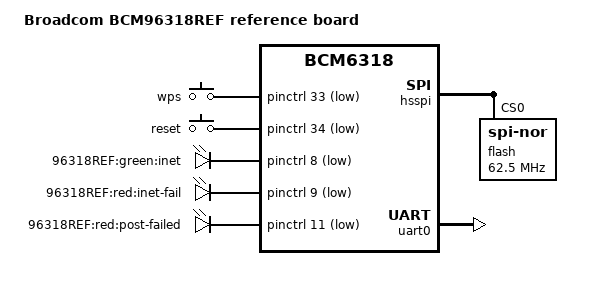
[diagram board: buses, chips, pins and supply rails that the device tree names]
/dts-v1/;

#include "bcm6318.dtsi"

#include <dt-bindings/input/input.h>

/ {
	model = "Broadcom BCM96318REF reference board";
	compatible = "brcm,bcm96318ref", "brcm,bcm6318";

	chosen {
		bootargs = "rootfstype=squashfs,jffs2 noinitrd console=ttyS0,115200";
		stdout-path = "serial0:115200n8";
	};

	gpio-keys-polled {
		compatible = "gpio-keys-polled";
		#address-cells = <1>;
		#size-cells = <0>;
		poll-interval = <20>;
		debounce-interval = <60>;

		wps {
			label = "wps";
			gpios = <&pinctrl 33 1>;
			linux,code = <KEY_WPS_BUTTON>;
		};

		reset {
			label = "reset";
			gpios = <&pinctrl 34 1>;
			linux,code = <KEY_RESTART>;
		};
	};

	gpio-leds {
		compatible = "gpio-leds";

		inet {
			label = "96318REF:green:inet";
			gpios = <&pinctrl 8 1>;
		};

		inet_fail {
			label = "96318REF:red:inet-fail";
			gpios = <&pinctrl 9 1>;
		};

		post_failed {
			label = "96318REF:red:post-failed";
			gpios = <&pinctrl 11 1>;
		};
	};
};

&hsspi {
	status = "ok";

	flash@0 {
		compatible = "jedec,spi-nor";
		spi-max-frequency = <62500000>;
		spi-tx-bus-width = <2>;
		spi-rx-bus-width = <2>;
		reg = <0>;

		#address-cells = <1>;
		#size-cells = <1>;

		partitions {
			compatible = "brcm,bcm963xx-cfe-nor-partitions";
		};
	};
};

&pinctrl {
	pinctrl-names = "default";
	pinctrl-0 = <&pinctrl_usb_pwron>;
};

&uart0 {
	status = "ok";
};
